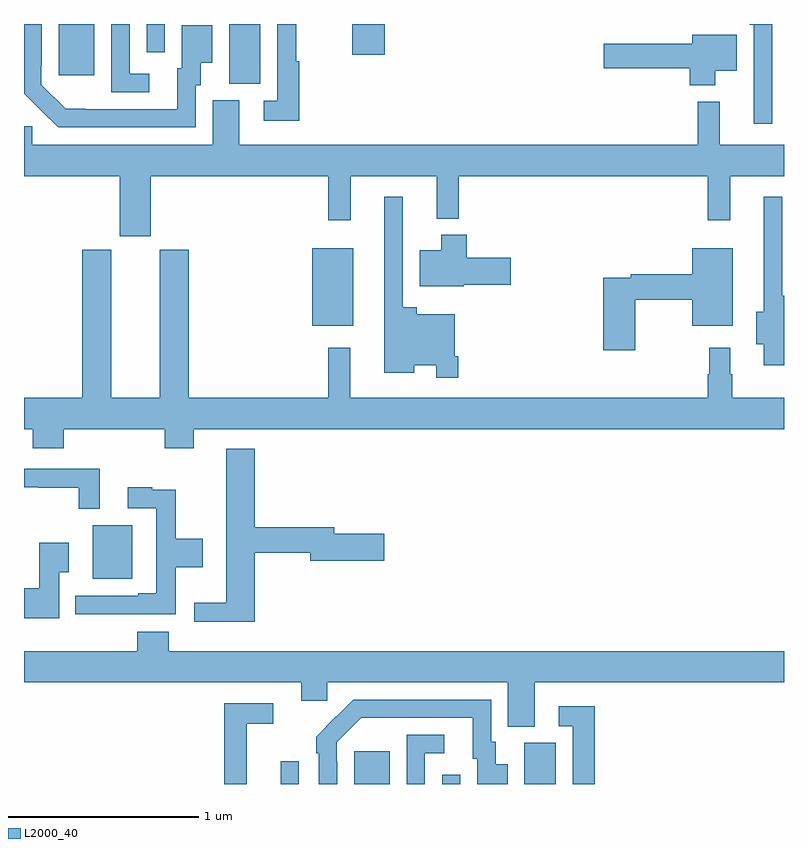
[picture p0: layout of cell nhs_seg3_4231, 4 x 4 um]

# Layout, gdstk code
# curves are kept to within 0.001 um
import gdstk
lib = gdstk.Library(unit=1e-6, precision=1e-09)
def R(c, l, rs):  # rectangles x0, y0, x1, y1
    for r in rs: c.add(gdstk.rectangle(r[:2], r[2:], *l))
def P(c, l, *ps):  # polygons
    for p in ps: c.add(gdstk.Polygon(p, *l))
L2000_40 = (2000, 40)

nhs_seg3_4231 = lib.new_cell('nhs_seg3_4231')
R(nhs_seg3_4231, L2000_40, [(336.351,680.4,336.447,680.521), (336.737,680.4,336.925,680.572), (337.2,680.4,337.296,680.449), (337.634,680.4,337.798,680.616), (335.363,681.479,335.569,681.763), (336.518,682.811,336.733,683.221), (336.08,684.085,336.244,684.4), (335.183,684.129,335.371,684.4), (336.728,684.237,336.899,684.4), (335.646,684.252,335.742,684.4)])
P(nhs_seg3_4231, L2000_40, [(335.904,684.078),(335.929,684.078),(335.929,684.197),(335.992,684.197),(335.992,684.394),(335.831,684.394),(335.831,684.168),(335.807,684.168),(335.807,683.952),(335.22,683.953),(335.091,684.081),(335.091,684.181),(335.094,684.181),(335.094,684.4),(335,684.4),(335,684.034),(335.18,683.856),(335.904,683.856)],
  [(336.449,684.204),(336.434,684.204),(336.434,684.4),(336.333,684.4),(336.333,683.997),(336.261,683.997),(336.261,683.892),(336.449,683.892)],
  [(335.659,684.138),(335.556,684.138),(335.556,684.4),(335.46,684.4),(335.46,684.042),(335.659,684.042)],
  [(338.938,684.4),(338.821,684.4),(338.821,684.395),(338.841,684.395),(338.841,683.874),(338.938,683.874)],
  [(338.638,684.155),(338.752,684.155),(338.752,684.343),(338.516,684.343),(338.516,684.295),(338.052,684.295),(338.052,684.166),(338.504,684.166),(338.504,684.077),(338.638,684.077)],
  [(335.668,683.6),(336.601,683.6),(336.601,683.367),(336.719,683.367),(336.719,683.6),(337.172,683.6),(337.172,683.375),(337.289,683.375),(337.289,683.6),(338.599,683.6),(338.599,683.367),(338.717,683.367),(338.717,683.6),(339,683.6),(339,683.764),(338.663,683.764),(338.663,683.992),(338.545,683.992),(338.545,683.764),(336.133,683.764),(336.133,684),(335.993,684),(335.993,683.764),(335.043,683.764),(335.043,683.862),(335,683.862),(335,683.6),(335.504,683.6),(335.504,683.283),(335.668,683.283)],
  [(339,682.969),(338.991,682.969),(338.991,683.491),(338.894,683.491),(338.894,682.886),(338.855,682.886),(338.855,682.715),(338.894,682.715),(338.894,682.604),(339,682.604)],
  [(337.286,682.651),(337.266,682.651),(337.266,682.873),(337.067,682.873),(337.067,682.909),(336.993,682.909),(336.993,683.491),(336.896,683.491),(336.896,682.565),(337.054,682.565),(337.054,682.604),(337.17,682.604),(337.17,682.539),(337.286,682.539)],
  [(337.314,683.027),(337.561,683.027),(337.561,683.169),(337.331,683.169),(337.331,683.29),(337.196,683.29),(337.196,683.209),(337.082,683.209),(337.082,683.021),(337.314,683.021)],
  [(338.218,682.948),(338.516,682.948),(338.516,682.811),(338.731,682.811),(338.731,683.221),(338.516,683.221),(338.516,683.084),(338.194,683.084),(338.194,683.064),(338.048,683.064),(338.048,682.683),(338.218,682.683)],
  [(335.21,682.268),(335.741,682.268),(335.741,682.166),(335.893,682.166),(335.893,682.268),(339,682.268),(339,682.432),(338.728,682.432),(338.728,682.556),(338.716,682.556),(338.716,682.696),(338.607,682.696),(338.607,682.556),(338.599,682.556),(338.599,682.432),(336.718,682.432),(336.718,682.696),(336.601,682.696),(336.601,682.432),(335.867,682.432),(335.867,683.211),(335.714,683.211),(335.714,682.432),(335.458,682.432),(335.458,683.211),(335.306,683.211),(335.306,682.432),(335,682.432),(335,682.268),(335.045,682.268),(335.045,682.166),(335.21,682.166)],
  [(336.215,681.616),(336.506,681.616),(336.506,681.574),(336.895,681.574),(336.895,681.716),(336.634,681.716),(336.634,681.752),(336.215,681.752),(336.215,682.165),(336.065,682.165),(336.065,681.353),(335.895,681.353),(335.895,681.254),(336.215,681.254)],
  [(335.398,682.059),(335,682.059),(335,681.963),(335.074,681.963),(335.074,681.958),(335.289,681.958),(335.289,681.848),(335.398,681.848)],
  [(335.513,681.294),(335.798,681.294),(335.798,681.542),(335.941,681.542),(335.941,681.69),(335.798,681.69),(335.798,681.95),(335.675,681.95),(335.675,681.961),(335.547,681.961),(335.547,681.852),(335.697,681.852),(335.697,681.403),(335.6,681.403),(335.6,681.39),(335.271,681.39),(335.271,681.293),(335.513,681.293)],
  [(335.185,681.514),(335.236,681.514),(335.236,681.67),(335.081,681.67),(335.081,681.43),(335,681.43),(335,681.272),(335.185,681.272)],
  [(337.687,680.936),(339,680.936),(339,681.1),(335.762,681.1),(335.762,681.202),(335.597,681.202),(335.597,681.1),(335,681.1),(335,680.936),(336.458,680.936),(336.458,680.838),(336.597,680.838),(336.597,680.936),(337.547,680.936),(337.547,680.701),(337.687,680.701)],
  [(336.648,680.519),(336.645,680.519),(336.645,680.619),(336.774,680.748),(337.361,680.748),(337.361,680.532),(337.385,680.532),(337.385,680.4),(337.546,680.4),(337.546,680.503),(337.483,680.503),(337.483,680.622),(337.458,680.622),(337.458,680.844),(336.734,680.844),(336.537,680.649),(336.537,680.561),(336.552,680.561),(336.552,680.4),(336.648,680.4)],
  [(336.173,680.718),(336.313,680.718),(336.313,680.826),(336.055,680.826),(336.055,680.4),(336.173,680.4)],
  [(338.003,680.809),(337.815,680.809),(337.815,680.703),(337.887,680.703),(337.887,680.4),(338.003,680.4)],
  [(337.11,680.562),(337.213,680.562),(337.213,680.658),(337.014,680.658),(337.014,680.4),(337.11,680.4)])

lib.write_gds('nhs_seg3_4231.gds')
